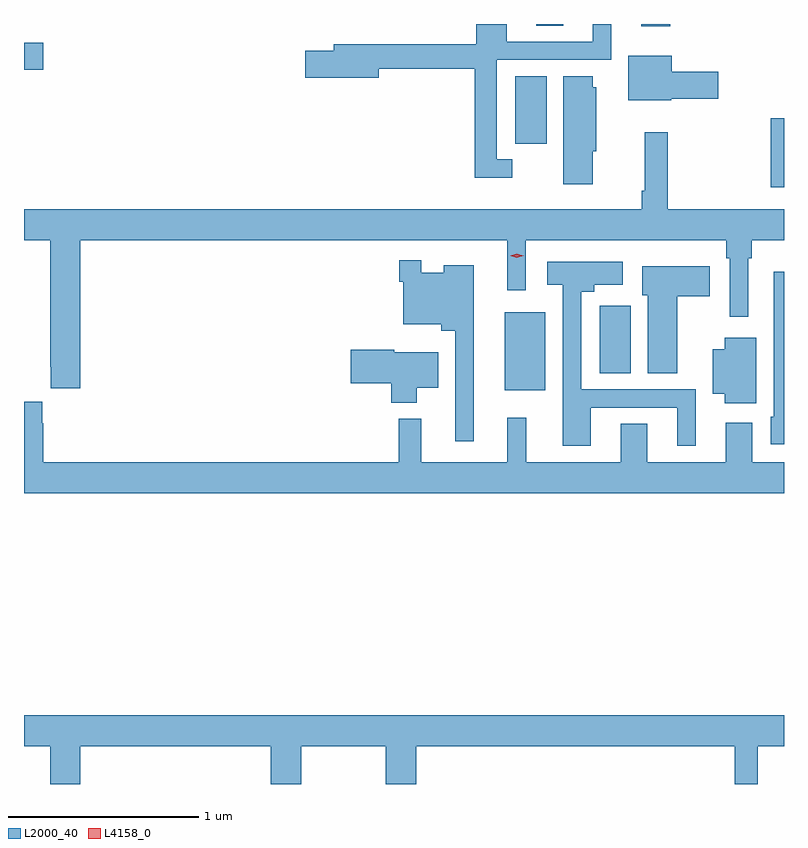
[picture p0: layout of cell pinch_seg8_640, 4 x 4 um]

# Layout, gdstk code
import gdstk
lib = gdstk.Library(unit=1e-6, precision=1e-09)
def R(c, l, rs):  # rectangles x0, y0, x1, y1
    for r in rs: c.add(gdstk.rectangle(r[:2], r[2:], *l))
def P(c, l, *ps):  # polygons
    for p in ps: c.add(gdstk.Polygon(p, *l))
L2000_40 = (2000, 40)
L4158_0 = (4158, 0)

pinch_seg8_640 = lib.new_cell('pinch_seg8_640')
R(pinch_seg8_640, L2000_40, [(326.447,1089.071,326.662,1089.481), (327.848,1090.139,327.918,1090.501), (326.504,1090.368,326.668,1090.724), (323.918,1090.757,324.019,1090.899), (327.167,1090.986,327.32,1090.998), (326.615,1090.99,326.755,1090.998)])
P(pinch_seg8_640, L2000_40, [(326.488,1090.287),(326.406,1090.287),(326.406,1090.809),(327.01,1090.809),(327.01,1090.998),(326.912,1090.998),(326.912,1090.905),(326.458,1090.905),(326.458,1090.998),(326.297,1090.998),(326.297,1090.891),(325.547,1090.891),(325.547,1090.857),(325.398,1090.857),(325.398,1090.715),(325.786,1090.715),(325.786,1090.762),(326.29,1090.762),(326.29,1090.19),(326.488,1090.19)],
  [(327.324,1090.604),(327.571,1090.604),(327.571,1090.746),(327.328,1090.746),(327.328,1090.831),(327.098,1090.831),(327.098,1090.598),(327.324,1090.598)],
  [(326.911,1090.329),(326.929,1090.329),(326.929,1090.665),(326.911,1090.665),(326.911,1090.724),(326.756,1090.724),(326.756,1090.155),(326.911,1090.155)],
  [(324.215,1089.86),(326.462,1089.86),(326.462,1089.597),(326.559,1089.597),(326.559,1089.86),(327.613,1089.86),(327.613,1089.764),(327.633,1089.764),(327.633,1089.456),(327.73,1089.456),(327.73,1089.764),(327.749,1089.764),(327.749,1089.86),(327.918,1089.86),(327.918,1090.024),(327.305,1090.024),(327.305,1090.429),(327.184,1090.429),(327.184,1090.12),(327.169,1090.12),(327.169,1090.024),(323.918,1090.024),(323.918,1089.86),(324.055,1089.86),(324.055,1089.193),(324.059,1089.193),(324.059,1089.081),(324.215,1089.081)],
  [(326.284,1089.727),(326.126,1089.727),(326.126,1089.688),(326.01,1089.688),(326.01,1089.754),(325.894,1089.754),(325.894,1089.641),(325.914,1089.641),(325.914,1089.419),(326.114,1089.419),(326.114,1089.383),(326.187,1089.383),(326.187,1088.802),(326.284,1088.802)],
  [(326.902,1088.979),(327.356,1088.979),(327.356,1088.778),(327.454,1088.778),(327.454,1089.075),(326.85,1089.075),(326.85,1089.589),(326.92,1089.589),(326.92,1089.626),(327.07,1089.626),(327.07,1089.748),(326.673,1089.748),(326.673,1089.626),(326.754,1089.626),(326.754,1088.778),(326.902,1088.778)],
  [(327.355,1089.566),(327.526,1089.566),(327.526,1089.724),(327.173,1089.724),(327.173,1089.57),(327.2,1089.57),(327.2,1089.16),(327.355,1089.16)],
  [(327.918,1089.694),(327.863,1089.694),(327.863,1089.468),(327.864,1089.468),(327.864,1088.931),(327.848,1088.931),(327.848,1088.786),(327.918,1088.786)],
  [(327.112,1089.514),(326.949,1089.514),(326.949,1089.401),(326.948,1089.401),(326.948,1089.16),(327.112,1089.16)],
  [(327.772,1089.346),(327.605,1089.346),(327.605,1089.286),(327.542,1089.286),(327.542,1089.053),(327.605,1089.053),(327.605,1089.002),(327.772,1089.002)],
  [(325.984,1089.083),(326.098,1089.083),(326.098,1089.271),(325.866,1089.271),(325.866,1089.284),(325.638,1089.284),(325.638,1089.106),(325.85,1089.106),(325.85,1089.005),(325.984,1089.005)],
  [(327.918,1088.692),(327.751,1088.692),(327.751,1088.899),(327.611,1088.899),(327.611,1088.692),(327.199,1088.692),(327.199,1088.894),(327.059,1088.894),(327.059,1088.692),(326.561,1088.692),(326.561,1088.926),(326.462,1088.926),(326.462,1088.692),(326.009,1088.692),(326.009,1088.92),(325.891,1088.92),(325.891,1088.692),(324.02,1088.692),(324.02,1088.897),(324.013,1088.897),(324.013,1089.01),(323.918,1089.01),(323.918,1088.528),(327.918,1088.528)],
  [(324.215,1087.196),(325.217,1087.196),(325.217,1086.998),(325.377,1086.998),(325.377,1087.196),(325.822,1087.196),(325.822,1086.998),(325.982,1086.998),(325.982,1087.196),(327.66,1087.196),(327.66,1086.998),(327.781,1086.998),(327.781,1087.196),(327.918,1087.196),(327.918,1087.36),(323.918,1087.36),(323.918,1087.196),(324.055,1087.196),(324.055,1086.998),(324.215,1086.998)])
P(pinch_seg8_640, L4158_0, [(326.511,1089.768),(326.476,1089.778),(326.476,1089.778),(326.476,1089.778),(326.511,1089.788),(326.546,1089.778),(326.547,1089.778),(326.546,1089.778)])

lib.write_gds('pinch_seg8_640.gds')
